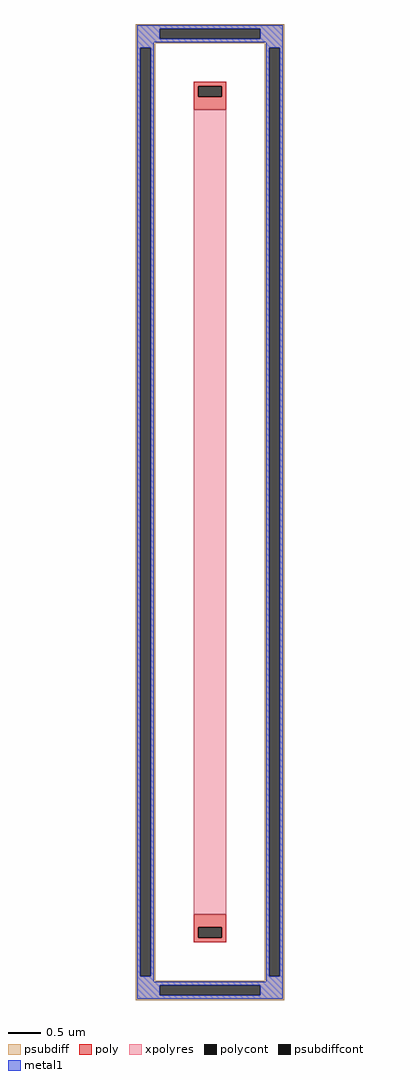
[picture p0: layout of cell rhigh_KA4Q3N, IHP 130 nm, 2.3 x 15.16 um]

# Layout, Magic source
magic
tech ihp-sg13g2
<< psubdiff >>
rect -115 751 115 758
rect -115 735 -78 751
rect 78 735 115 751
rect -115 728 115 735
rect -115 721 -85 728
rect -115 -721 -108 721
rect -92 -721 -85 721
rect 85 721 115 728
rect -115 -728 -85 -721
rect 85 -721 92 721
rect 108 -721 115 721
rect 85 -728 115 -721
rect -115 -735 115 -728
rect -115 -751 -78 -735
rect 78 -751 115 -735
rect -115 -758 115 -751
<< psubdiffcont >>
rect -78 735 78 751
rect -108 -721 -92 721
rect 92 -721 108 721
rect -78 -751 78 -735
<< poly >>
rect -25 661 25 668
rect -25 645 -18 661
rect 18 645 25 661
rect -25 625 25 645
rect -25 -645 25 -625
rect -25 -661 -18 -645
rect 18 -661 25 -645
rect -25 -668 25 -661
<< polycont >>
rect -18 645 18 661
rect -18 -661 18 -645
<< xpolyres >>
rect -25 -625 25 625
<< metal1 >>
rect -113 751 113 756
rect -113 735 -78 751
rect 78 735 113 751
rect -113 730 113 735
rect -113 721 -87 730
rect -113 -721 -108 721
rect -92 -721 -87 721
rect 87 721 113 730
rect -113 -730 -87 -721
rect 87 -721 92 721
rect 108 -721 113 721
rect 87 -730 113 -721
rect -113 -735 113 -730
rect -113 -751 -78 -735
rect 78 -751 113 -735
rect -113 -756 113 -751
<< properties >>
string gencell rhigh
string library sg13g2_devstdin
string parameters w 0.5 l 12.5 nx 1 dx 0.18 ny 1 dy 0.18 wmin 0.50 lmin 0.50 class resistor endcov 0 glc 1 grc 1 gtc 1 gbc 1
<< end >>
